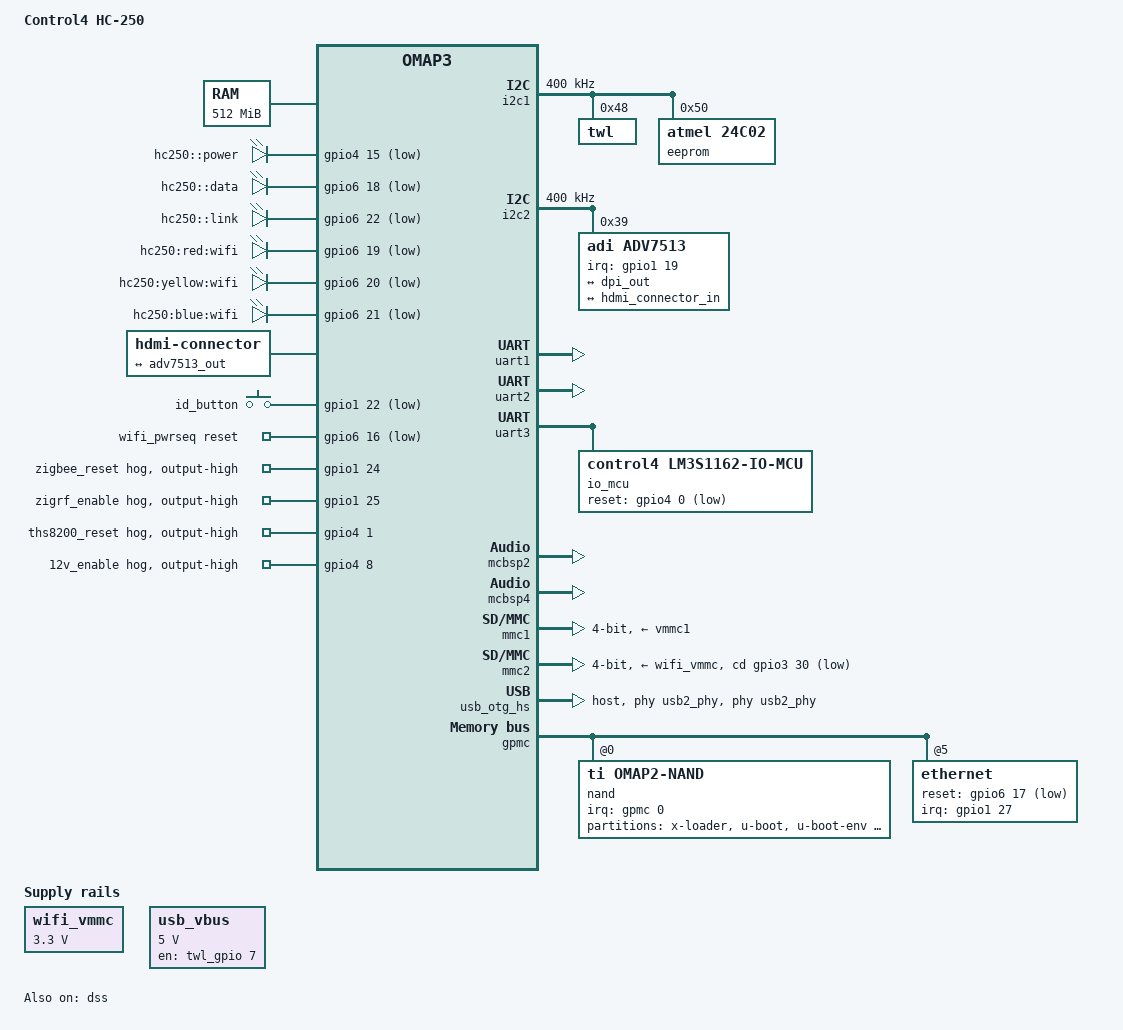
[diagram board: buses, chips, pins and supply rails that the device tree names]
// SPDX-License-Identifier: GPL-2.0
/*
 * Control4 HC-250 ("magneto"): OMAP36xx (DM3730 class), TPS65950, 512 MB,
 * 512 MB NAND, LAN9220, LM3S1162 IO-MCU, EM357 Zigbee.
 *
 * Pads stay as stock U-Boot muxed them, except the ones its kernel sets (DSS, McBSP4).
 * GPIOs read off a stock unit (/sys/kernel/debug/gpio, /dev/gpio).
 * Docs: https://the1truejoe.github.io/openHC/hc250/
 */
/dts-v1/;

#include <dt-bindings/gpio/gpio.h>
#include <dt-bindings/input/input.h>
#include <dt-bindings/interrupt-controller/irq.h>
#include <dt-bindings/pinctrl/omap.h>
#include <dt-bindings/gpio/control4,io-mcu.h>
#include "omap36xx.dtsi"

/ {
	model = "Control4 HC-250";
	compatible = "control4,hc250", "ti,omap3630", "ti,omap3";

	chosen {
		stdout-path = "serial0:115200n8";
	};

	memory@80000000 {
		device_type = "memory";
		reg = <0x80000000 0x20000000>;
	};

	leds {
		compatible = "gpio-leds";

		led-power {
			label = "hc250::power";
			gpios = <&gpio4 15 GPIO_ACTIVE_LOW>;		/* gpio111 */
			linux,default-trigger = "default-on";
		};
		led-data {
			label = "hc250::data";
			gpios = <&gpio6 18 GPIO_ACTIVE_LOW>;		/* gpio178 */
		};
		led-link {
			label = "hc250::link";
			gpios = <&gpio6 22 GPIO_ACTIVE_LOW>;		/* gpio182 */
		};
		led-wifi-red {
			label = "hc250:red:wifi";
			gpios = <&gpio6 19 GPIO_ACTIVE_LOW>;		/* gpio179 */
		};
		led-wifi-yellow {
			label = "hc250:yellow:wifi";
			gpios = <&gpio6 20 GPIO_ACTIVE_LOW>;		/* gpio180 */
		};
		led-wifi-blue {
			label = "hc250:blue:wifi";
			gpios = <&gpio6 21 GPIO_ACTIVE_LOW>;		/* gpio181 */
			linux,default-trigger = "heartbeat";
		};
	};

	/* TPS65950 codec on McBSP2: the rear audio out and in. */
	sound {
		compatible = "ti,omap-twl4030";
		ti,model = "HC-250";
		ti,mcbsp = <&mcbsp2>;
		/* Stock plays out of DAC2 into HSOL/HSOR; line in on AUXL/AUXR. */
		ti,audio-routing =
			"Headset Stereophone", "HSOL",
			"Headset Stereophone", "HSOR",
			"AUXL", "Line In",
			"AUXR", "Line In";
	};

	hdmi-connector {
		compatible = "hdmi-connector";
		label = "hdmi";
		type = "a";

		port {
			hdmi_connector_in: endpoint {
				remote-endpoint = <&adv7513_out>;
			};
		};
	};

	/* McBSP4 into the ADV7513's I2S: HDMI audio. */
	sound-hdmi {
		compatible = "simple-audio-card";
		simple-audio-card,name = "HC-250 HDMI";
		simple-audio-card,format = "i2s";
		simple-audio-card,bitclock-master = <&hdmi_dai_cpu>;
		simple-audio-card,frame-master = <&hdmi_dai_cpu>;

		/* No MCLK: the ADV7513 needs a 64 fs bit clock (2 x 32-bit slots). */
		hdmi_dai_cpu: simple-audio-card,cpu {
			sound-dai = <&mcbsp4>;
			dai-tdm-slot-num = <2>;
			dai-tdm-slot-width = <32>;
		};
		simple-audio-card,codec {
			sound-dai = <&adv7513>;
		};
	};

	/* ID button: held at power-on it is U-Boot's USB-script trigger. */
	id-button {
		compatible = "gpio-keys";
		label = "hc250-id-button";

		key-id {
			label = "id_button";
			gpios = <&gpio1 22 GPIO_ACTIVE_LOW>;
			linux,code = <KEY_F5>;
			debounce-interval = <20>;
		};
	};

	/* Rear USB 5 V: TPS2553 enabled by TWL GPIO 7 (U-Boot c4sys usbcheck). */
	/* The BCM4319 module runs off a fixed rail (stock leaves the TWL LDOs off). */
	wifi_vmmc: regulator-wifi {
		compatible = "regulator-fixed";
		regulator-name = "wifi_vmmc";
		regulator-min-microvolt = <3300000>;
		regulator-max-microvolt = <3300000>;
		regulator-always-on;
	};

	wifi_pwrseq: wifi-pwrseq {
		compatible = "mmc-pwrseq-simple";
		reset-gpios = <&gpio6 16 GPIO_ACTIVE_LOW>;	/* wifi_reset */
		/* 50 ms is too short: CMD5 goes unanswered. 200 ms works. */
		post-power-on-delay-ms = <200>;
	};

	usb_vbus: regulator-usb-vbus {
		compatible = "regulator-fixed";
		regulator-name = "usb_vbus";
		regulator-min-microvolt = <5000000>;
		regulator-max-microvolt = <5000000>;
		gpio = <&twl_gpio 7 GPIO_ACTIVE_HIGH>;
		enable-active-high;
		regulator-always-on;
	};
};

&gpio1 {
	gpio-line-names =
		/*  0 */ "", "", "", "", "", "", "", "",
		/*  8 */ "", "", "", "", "", "", "", "",
		/* 16 */ "", "", "", "hdmi_irq", "", "", "id_button", "",
		/* 24 */ "zigbee_reset", "zigrf_enable", "", "eth_irq", "", "", "", "";

	/* Held as the stock OS leaves them: NCP out of reset, RF on. */
	zigbee-reset-hog {
		gpio-hog;
		gpios = <24 GPIO_ACTIVE_HIGH>;
		output-high;
		line-name = "zigbee_reset";
	};
	zigrf-enable-hog {
		gpio-hog;
		gpios = <25 GPIO_ACTIVE_HIGH>;
		output-high;
		line-name = "zigrf_enable";
	};
};

&gpio4 {
	gpio-line-names =
		/*  96 */ "io_reset", "ths8200_reset", "", "", "", "wifi_carddetect", "", "",
		/* 104 */ "12v_enable", "", "", "", "", "", "12v_fault", "",
		/* 112 */ "", "", "", "", "", "", "", "",
		/* 120 */ "", "", "", "", "", "", "", "";

	/* X-Loader holds the THS8200 in reset; stock releases it. */
	ths8200-reset-hog {
		gpio-hog;
		gpios = <1 GPIO_ACTIVE_HIGH>;
		output-high;
		line-name = "ths8200_reset";
	};
	/* Stock tps2533 driver holds this high; its fault input is gpio110. */
	pwr-12v-hog {
		gpio-hog;
		gpios = <8 GPIO_ACTIVE_HIGH>;
		output-high;
		line-name = "12v_enable";
	};
};

&gpio6 {
	gpio-line-names =
		/* 160 */ "", "", "", "", "", "", "", "",
		/* 168 */ "", "", "", "", "", "", "", "",
		/* 176 */ "wifi_reset", "eth_reset", "", "", "", "", "", "",
		/* 184 */ "", "", "", "", "", "", "", "";
};

/* 400 kHz, not the TWL's 2.6 MHz HS mode: the 24C02 at 0x50 shares the bus. */
&i2c1 {
	clock-frequency = <400000>;

	twl: twl@48 {
		reg = <0x48>;
		interrupts = <7>;		/* SYS_NIRQ */
		interrupt-parent = <&intc>;

		twl_audio: audio {
			compatible = "ti,twl4030-audio";
			codec {
			};
		};
	};

	/*
	 * c4sys boot counters (0 bootcount0, 1 bootcount1, 2 cleancount, 3 cleanboot,
	 * 4 restore count, 5 restore state) and the MAC (8-13). Byte 6 is openHC's
	 * SD boot try count (U-Boot's bootohc). S95ohcboot zeroes 0/1, 2 and 6 after a
	 * good boot, as stock's setbootcnt does for its own; nothing else writes.
	 */
	eeprom@50 {
		compatible = "atmel,24c02";
		reg = <0x50>;
		pagesize = <8>;
	};
};

#include "twl4030.dtsi"
#include "twl4030_omap3.dtsi"

/* THS8200 @21 (configured from userspace, S47video) and ADV7513 @39. */
&i2c2 {
	clock-frequency = <400000>;

	adv7513: hdmi@39 {
		compatible = "adi,adv7513";
		reg = <0x39>, <0x3f>, <0x3c>, <0x38>;
		reg-names = "main", "edid", "cec", "packet";
		interrupts-extended = <&gpio1 19 IRQ_TYPE_EDGE_FALLING>;
		#sound-dai-cells = <0>;

		/* As stock drives it: 24-bit RGB 4:4:4, separate syncs. */
		adi,input-depth = <8>;
		adi,input-colorspace = "rgb";
		adi,input-clock = "1x";

		ports {
			#address-cells = <1>;
			#size-cells = <0>;

			port@0 {
				reg = <0>;
				adv7513_in: endpoint {
					remote-endpoint = <&dpi_out>;
				};
			};
			port@1 {
				reg = <1>;
				adv7513_out: endpoint {
					remote-endpoint = <&hdmi_connector_in>;
				};
			};
		};
	};
};

&i2c3 {
	status = "disabled";
};

/* Console. */
&uart1 {
	status = "okay";
};

/* EM357 Zigbee NCP, on the McBSP3 pads with RTS/CTS. */
&uart2 {
	uart-has-rtscts;
	status = "okay";
};

/* LM3S1162 IO-MCU. Pins: docs shared/io-mcu-pinmap (stock LM3S block 1). */
&uart3 {
	status = "okay";

	io_mcu: io-mcu {
		compatible = "control4,lm3s1162-io-mcu", "control4,io-mcu";
		current-speed = <115200>;
		reset-gpios = <&gpio4 0 GPIO_ACTIVE_LOW>;	/* gpio96 io_reset */
		/* openHC's image; a factory restore's stock OS puts Control4's back. */
		firmware-name = "openhc/io-mcu-lm3s1162.bin";
		control4,ir-carriers = <IOMCU_PORT_D 1>, <IOMCU_PORT_F 3>;
		control4,ir-gates-active-low;
		control4,hold-low-pins = <IOMCU_PORT_F 4>, <IOMCU_PORT_F 5>,
					 <IOMCU_PORT_A 7>, <IOMCU_PORT_A 6>;
		control4,heartbeat-pin = <IOMCU_PORT_F 1>;
		#address-cells = <1>;
		#size-cells = <0>;

		/* Jack 1 = UART1, jack 2 = UART2: inferred, not yet probed. */
		jack@1 {
			reg = <1>;
			label = "IR / Serial 1";
			control4,ir-channel = <0>;
			control4,ir-gates = <IOMCU_PORT_C 7 0>, <IOMCU_PORT_C 6 1>;
			control4,uart = <0>;
			control4,uart-pins = <IOMCU_PORT_D 2>, <IOMCU_PORT_D 3>;
			control4,uart-mux-pins = <IOMCU_PORT_B 0>;
		};
		jack@2 {
			reg = <2>;
			label = "IR / Serial 2";
			control4,ir-channel = <1>;
			control4,ir-gates = <IOMCU_PORT_C 5 0>, <IOMCU_PORT_C 4 1>;
			control4,uart = <1>;
			control4,uart-pins = <IOMCU_PORT_G 0>, <IOMCU_PORT_G 1>;
			control4,uart-mux-pins = <IOMCU_PORT_B 1>;
		};
		jack@3 {
			reg = <3>;
			label = "IR 3";
			control4,ir-channel = <2>;
			control4,ir-gates = <IOMCU_PORT_B 4 0>, <IOMCU_PORT_B 5 1>;
		};
		jack@4 {
			reg = <4>;
			label = "IR 4";
			control4,ir-channel = <3>;
			control4,ir-gates = <IOMCU_PORT_B 6 0>, <IOMCU_PORT_F 2 1>;
		};
		ir-blaster {
			control4,ir-channel = <4>;
			control4,ir-gates = <IOMCU_PORT_F 0 0>, <IOMCU_PORT_D 5 1>;
		};
		ir-receiver {
			control4,ir-pin = <IOMCU_PORT_D 4>;
		};

		relays {
			#address-cells = <1>;
			#size-cells = <0>;

			relay@0 {
				reg = <0>;
				label = "Relay 1";
				control4,pin = <IOMCU_PORT_E 0>;
			};
		};

		contacts {
			#address-cells = <1>;
			#size-cells = <0>;

			contact@0 {
				reg = <0>;
				label = "Contact 1";
				control4,pin = <IOMCU_PORT_E 1>;
				control4,active-low;
			};
		};
	};
};

/*
 * omap3-cpu-thermal's 90 °C critical trip (sensor + 20 °C) shuts a warm HC-250
 * down at boot; stock has no thermal shutdown. 105 °C, the DM3730 extended Tj max.
 */
&cpu_crit {
	temperature = <105000>;
};

&mcbsp2 {
	status = "okay";
};

&mcbsp4 {
	pinctrl-names = "default";
	pinctrl-0 = <&mcbsp4_pins>;
	status = "okay";
};

/* 24-bit DPI to the ADV7513 and THS8200, with DM3730's data0-5 and 18-23 moved. */
&dss {
	pinctrl-names = "default";
	pinctrl-0 = <&dss_dpi_pins &dss_dpi_pins_wkup>;
	vdds_dsi-supply = <&vpll2>;
	status = "okay";

	port {
		dpi_out: endpoint {
			remote-endpoint = <&adv7513_in>;
			data-lines = <24>;
		};
	};
};

&omap3_pmx_core {
	dss_dpi_pins: dss-dpi-pins {
		pinctrl-single,pins = <
			OMAP3_CORE1_IOPAD(0x20d4, PIN_OUTPUT | MUX_MODE0)	/* dss_pclk */
			OMAP3_CORE1_IOPAD(0x20d6, PIN_OUTPUT | MUX_MODE0)	/* dss_hsync */
			OMAP3_CORE1_IOPAD(0x20d8, PIN_OUTPUT | MUX_MODE0)	/* dss_vsync */
			OMAP3_CORE1_IOPAD(0x20da, PIN_OUTPUT | MUX_MODE0)	/* dss_acbias */
			OMAP3_CORE1_IOPAD(0x20e8, PIN_OUTPUT | MUX_MODE0)	/* dss_data6 */
			OMAP3_CORE1_IOPAD(0x20ea, PIN_OUTPUT | MUX_MODE0)	/* dss_data7 */
			OMAP3_CORE1_IOPAD(0x20ec, PIN_OUTPUT | MUX_MODE0)	/* dss_data8 */
			OMAP3_CORE1_IOPAD(0x20ee, PIN_OUTPUT | MUX_MODE0)	/* dss_data9 */
			OMAP3_CORE1_IOPAD(0x20f0, PIN_OUTPUT | MUX_MODE0)	/* dss_data10 */
			OMAP3_CORE1_IOPAD(0x20f2, PIN_OUTPUT | MUX_MODE0)	/* dss_data11 */
			OMAP3_CORE1_IOPAD(0x20f4, PIN_OUTPUT | MUX_MODE0)	/* dss_data12 */
			OMAP3_CORE1_IOPAD(0x20f6, PIN_OUTPUT | MUX_MODE0)	/* dss_data13 */
			OMAP3_CORE1_IOPAD(0x20f8, PIN_OUTPUT | MUX_MODE0)	/* dss_data14 */
			OMAP3_CORE1_IOPAD(0x20fa, PIN_OUTPUT | MUX_MODE0)	/* dss_data15 */
			OMAP3_CORE1_IOPAD(0x20fc, PIN_OUTPUT | MUX_MODE0)	/* dss_data16 */
			OMAP3_CORE1_IOPAD(0x20fe, PIN_OUTPUT | MUX_MODE0)	/* dss_data17 */
			OMAP3_CORE1_IOPAD(0x2100, PIN_OUTPUT | MUX_MODE3)	/* dss_data18.dss_data0 */
			OMAP3_CORE1_IOPAD(0x2102, PIN_OUTPUT | MUX_MODE3)	/* dss_data19.dss_data1 */
			OMAP3_CORE1_IOPAD(0x2104, PIN_OUTPUT | MUX_MODE3)	/* dss_data20.dss_data2 */
			OMAP3_CORE1_IOPAD(0x2106, PIN_OUTPUT | MUX_MODE3)	/* dss_data21.dss_data3 */
			OMAP3_CORE1_IOPAD(0x2108, PIN_OUTPUT | MUX_MODE3)	/* dss_data22.dss_data4 */
			OMAP3_CORE1_IOPAD(0x210a, PIN_OUTPUT | MUX_MODE3)	/* dss_data23.dss_data5 */
		>;
	};

	/* U-Boot leaves both in camera mode; stock's kernel muxes them as GPIOs. */
	wifi_pins: wifi-pins {
		pinctrl-single,pins = <
			OMAP3_CORE1_IOPAD(0x210c, PIN_INPUT_PULLUP | MUX_MODE4)	/* cam_hs.gpio94: card detect in */
			OMAP3_CORE1_IOPAD(0x211a, PIN_OUTPUT | MUX_MODE4)	/* cam_d2.gpio101: wifi_carddetect */
		>;
	};

	mcbsp4_pins: mcbsp4-pins {
		pinctrl-single,pins = <
			OMAP3_CORE1_IOPAD(0x2184, PIN_INPUT | MUX_MODE0)	/* mcbsp4_clkx */
			OMAP3_CORE1_IOPAD(0x2186, PIN_INPUT | MUX_MODE0)	/* mcbsp4_dr */
			OMAP3_CORE1_IOPAD(0x2188, PIN_OUTPUT | MUX_MODE0)	/* mcbsp4_dx */
			OMAP3_CORE1_IOPAD(0x218a, PIN_INPUT | MUX_MODE0)	/* mcbsp4_fsx */
		>;
	};
};

&omap3_pmx_wkup {
	dss_dpi_pins_wkup: dss-dpi-wkup-pins {
		pinctrl-single,pins = <
			OMAP3_WKUP_IOPAD(0x2a0a, PIN_OUTPUT | MUX_MODE3)	/* sys_boot0.dss_data18 */
			OMAP3_WKUP_IOPAD(0x2a0c, PIN_OUTPUT | MUX_MODE3)	/* sys_boot1.dss_data19 */
			OMAP3_WKUP_IOPAD(0x2a10, PIN_OUTPUT | MUX_MODE3)	/* sys_boot3.dss_data20 */
			OMAP3_WKUP_IOPAD(0x2a12, PIN_OUTPUT | MUX_MODE3)	/* sys_boot4.dss_data21 */
			OMAP3_WKUP_IOPAD(0x2a14, PIN_OUTPUT | MUX_MODE3)	/* sys_boot5.dss_data22 */
			OMAP3_WKUP_IOPAD(0x2a16, PIN_OUTPUT | MUX_MODE3)	/* sys_boot6.dss_data23 */
		>;
	};
};

/* Stock never registers VAUX3 and VDAC, so they stay as the PMIC powers up. */
&vaux3 {
	regulator-always-on;
};

&vdac {
	regulator-always-on;
};

/* Interior SD slot (inferred). CD is TWL GPIO 0 but reads "empty" on stock, so poll. */
&mmc1 {
	vmmc-supply = <&vmmc1>;
	bus-width = <4>;
	broken-cd;
};

/*
 * BCM4319 SDIO Wi-Fi behind a direction-controlled level shifter (dat4-7 =
 * dir/clkin, U-Boot's mux; X-Loader sets DEVCONF1 clock loopback). Card detect
 * is wifi_carddetect looped back to gpio94, as on stock: the radio comes up
 * when S38wifi-radio drives it low, after the firmware is in place.
 */
&mmc2 {
	pinctrl-names = "default";
	pinctrl-0 = <&wifi_pins>;
	vmmc-supply = <&wifi_vmmc>;
	mmc-pwrseq = <&wifi_pwrseq>;
	bus-width = <4>;
	cd-gpios = <&gpio3 30 GPIO_ACTIVE_LOW>;
	cap-power-off-card;
	keep-power-in-suspend;
	status = "okay";
};

&mmc3 {
	status = "disabled";
};

/* Rear USB: MUSB through the TWL4030 PHY, host only. */
&usb_otg_hs {
	interface-type = <0>;
	usb-phy = <&usb2_phy>;
	phys = <&usb2_phy>;
	phy-names = "usb2-phy";
	mode = <1>;
	dr_mode = "host";
	power = <250>;
};

&gpmc {
	ranges = <0 0 0x30000000 0x01000000>,	/* CS0: NAND */
		 <5 0 0x2c000000 0x01000000>;	/* CS5: LAN9220 */

	/*
	 * Partitions as stock /proc/mtd, all read-only: mainline's BCH4 OOB layout is
	 * not Control4's (its ECC sits at OOB 36-63), so a write from here would read
	 * back as uncorrectable in U-Boot. The env is written by stock's fw_setenv.
	 */
	nand@0,0 {
		compatible = "ti,omap2-nand";
		reg = <0 0 4>;
		interrupt-parent = <&gpmc>;
		interrupts = <0 IRQ_TYPE_NONE>, <1 IRQ_TYPE_NONE>;
		nand-bus-width = <16>;
		gpmc,device-width = <2>;
		ti,nand-ecc-opt = "bch4";
		gpmc,sync-clk-ps = <0>;
		gpmc,cs-on-ns = <0>;
		gpmc,cs-rd-off-ns = <44>;
		gpmc,cs-wr-off-ns = <44>;
		gpmc,adv-on-ns = <6>;
		gpmc,adv-rd-off-ns = <34>;
		gpmc,adv-wr-off-ns = <44>;
		gpmc,we-off-ns = <40>;
		gpmc,oe-off-ns = <54>;
		gpmc,access-ns = <64>;
		gpmc,rd-cycle-ns = <82>;
		gpmc,wr-cycle-ns = <82>;
		gpmc,wr-access-ns = <40>;
		gpmc,wr-data-mux-bus-ns = <0>;

		partitions {
			compatible = "fixed-partitions";
			#address-cells = <1>;
			#size-cells = <1>;

			partition@0 {
				label = "x-loader";
				reg = <0x00000000 0x00080000>;
				read-only;
			};
			partition@80000 {
				label = "u-boot";
				reg = <0x00080000 0x00200000>;
				read-only;
			};
			partition@280000 {
				label = "u-boot-env";
				reg = <0x00280000 0x00040000>;
				read-only;
			};
			partition@2c0000 {
				label = "kernel0";
				reg = <0x002c0000 0x00400000>;
				read-only;
			};
			partition@6c0000 {
				label = "rootfs0";
				reg = <0x006c0000 0x08000000>;
				read-only;
			};
			partition@86c0000 {
				label = "recovery-kernel";
				reg = <0x086c0000 0x00400000>;
				read-only;
			};
			partition@8ac0000 {
				label = "recovery-rootfs";
				reg = <0x08ac0000 0x08000000>;
				read-only;
			};
			partition@10ac0000 {
				label = "jffs2";
				reg = <0x10ac0000 0x01800000>;
				read-only;
			};
			partition@122c0000 {
				label = "internal";
				reg = <0x122c0000 0x05060000>;
				read-only;
			};
			partition@17320000 {
				label = "kernel1";
				reg = <0x17320000 0x00400000>;
				read-only;
			};
			partition@17720000 {
				label = "rootfs1";
				reg = <0x17720000 0x08000000>;
				read-only;
			};
			partition@1f720000 {
				label = "logs";
				reg = <0x1f720000 0x00800000>;
				read-only;
			};
			partition@1ff20000 {
				label = "u-boot-env-redund";
				reg = <0x1ff20000 0x00040000>;
				read-only;
			};
		};
	};

	ethernet@gpmc {
		reg = <5 0 0xff>;
		interrupt-parent = <&gpio1>;
		interrupts = <27 IRQ_TYPE_LEVEL_LOW>;		/* gpio27 */
		reset-gpios = <&gpio6 17 GPIO_ACTIVE_LOW>;	/* gpio177 */
	};
};

#include "omap-gpmc-smsc911x.dtsi"
